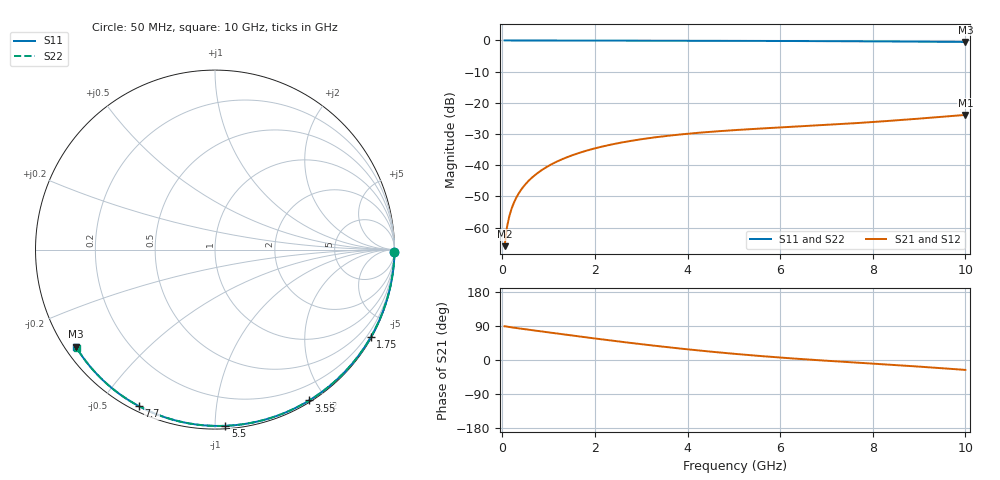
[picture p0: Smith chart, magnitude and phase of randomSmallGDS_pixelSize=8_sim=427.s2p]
! freq	dB(S11)	phase(S11)	dB(S12)	phase(S12)
!  dB(S21)	phase(S21)	dB(S22)	phase(S22)
!S-par simulation data
#  GHz  S  DB  R 50
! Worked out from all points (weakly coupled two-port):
!   200 points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, 50 MHz to 10 GHz, reference 50 ohm
!   highest |S21| = -23.88 dB at 10 GHz (marker M1); lowest = -66.0 dB at 50 MHz (marker M2)
!   lowest |S11| = -0.5 dB at 10 GHz (marker M3), VSWR 35.49, Z = 1.55 - j15.7 ohm
!   |S11| at or under -10 dB: nowhere
!   |S22| runs from -0.5 to 0.0 dB; largest |S21 - S12| = 0
!   S11 on the Smith chart (normalised r, x): 50 MHz: open; 1.75 GHz: 0.03, -3.81; 3.55 GHz: 0.02, -1.80; 5.5 GHz: 0.02, -1.06; 7.7 GHz: 0.02, -0.62; 10 GHz: 0.03, -0.31
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0.05  -0.00 -0.9  -65.97 89.0  -65.97 89.0  -0.00 -0.9
0.1  -0.00 -1.7  -59.96 88.0  -59.96 88.0  -0.00 -1.7
0.15  -0.00 -2.6  -56.46 87.1  -56.46 87.1  -0.00 -2.6
0.2  -0.00 -3.4  -53.97 86.2  -53.97 86.2  -0.00 -3.4
0.25  -0.00 -4.3  -52.05 85.3  -52.05 85.3  -0.00 -4.3
0.35  -0.00 -6.0  -49.16 83.6  -49.16 83.6  -0.00 -6.0
0.5  -0.01 -8.5  -46.11 81.1  -46.11 81.1  -0.01 -8.5
0.7  -0.01 -11.9  -43.24 77.8  -43.24 77.8  -0.01 -11.9
1  -0.02 -17.0  -40.22 72.9  -40.22 72.9  -0.02 -16.9
1.35  -0.03 -22.8  -37.73 67.2  -37.73 67.2  -0.03 -22.7
1.75  -0.04 -29.4  -35.64 60.7  -35.64 60.7  -0.04 -29.3
2.5  -0.05 -41.6  -32.94 49.1  -32.94 49.1  -0.05 -41.5
3.4  -0.08 -55.7  -30.88 36.1  -30.88 36.1  -0.08 -55.6
3.55  -0.08 -58.0  -30.62 34.1  -30.62 34.1  -0.08 -57.9
4.3  -0.10 -69.3  -29.53 24.5  -29.53 24.5  -0.10 -69.2
5.05  -0.13 -80.2  -28.72 15.9  -28.72 15.9  -0.13 -80.0
5.5  -0.14 -86.6  -28.32 11.2  -28.32 11.2  -0.14 -86.4
6.7  -0.20 -102.9  -27.34 0.5  -27.34 0.5  -0.20 -102.7
7.7  -0.27 -116.0  -26.45 -7.3  -26.45 -7.3  -0.27 -115.7
8.35  -0.32 -124.3  -25.79 -12.3  -25.79 -12.3  -0.32 -124.0
9.2  -0.40 -135.0  -24.84 -19.1  -24.84 -19.1  -0.40 -134.7
10  -0.49 -145.1  -23.88 -26.2  -23.88 -26.2  -0.49 -144.7
